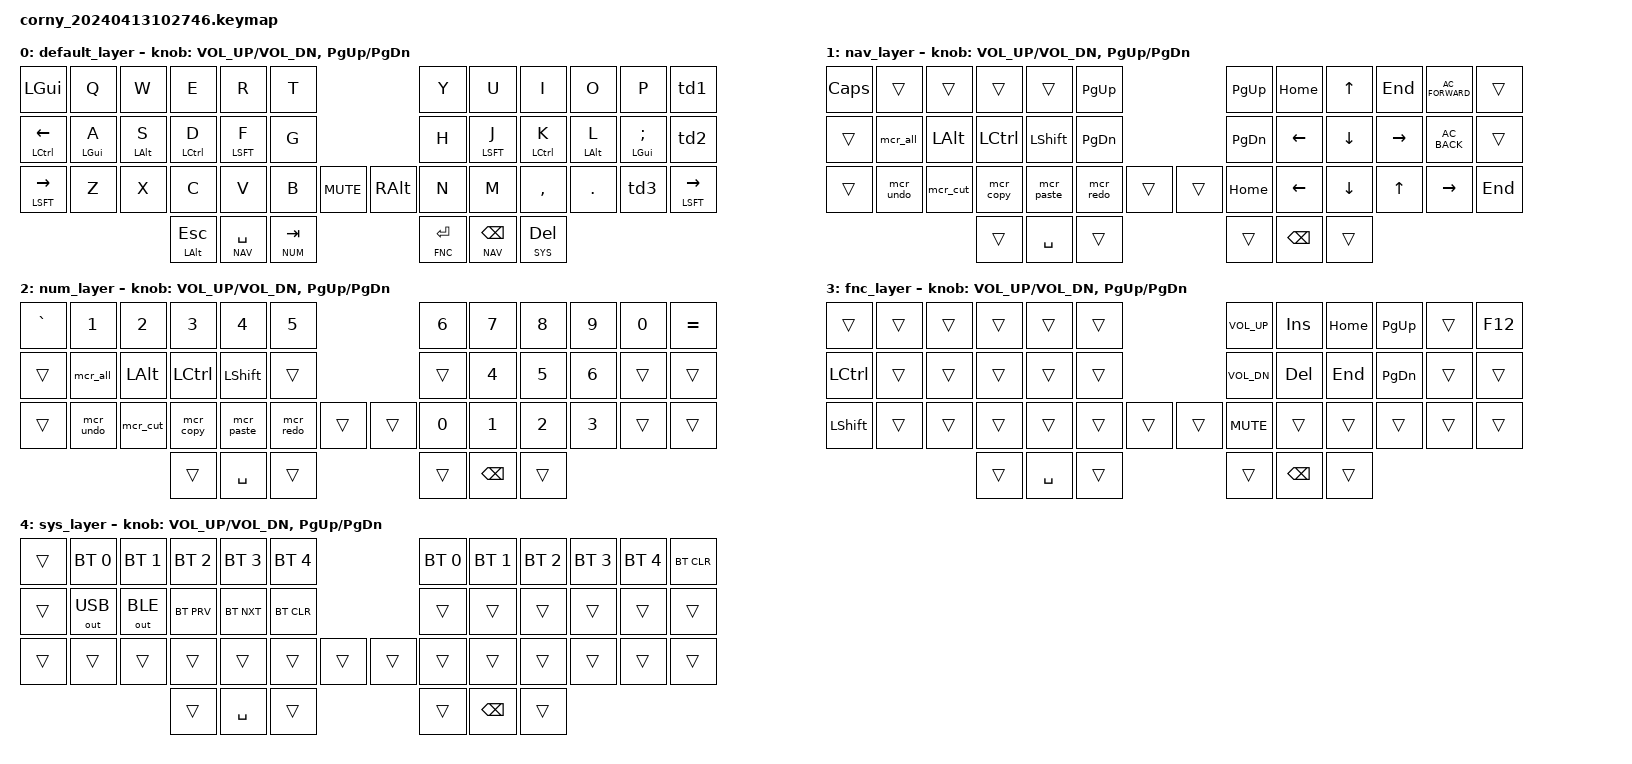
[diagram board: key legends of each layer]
#include <behaviors.dtsi>
#include <dt-bindings/zmk/keys.h>
#include <dt-bindings/zmk/bt.h>
#include <dt-bindings/zmk/outputs.h>


#define DEFAULT 0
#define NAV   1
#define NUM   2
#define FNC   3
#define SYS   4

//flavor = "hold-preferred";
//flavor = "tap-unless-interrupted";
//flavor = "balanced";
//flavor = "tap-preferred";

/ {
    combos {
        compatible = "zmk,combos";
        combo_ralt {
            timeout-ms = <50>;
            key-positions = <28 29>;
            bindings = <&kp RALT>;
        };
        combo_ralt2 {
            timeout-ms = <50>;
            key-positions = <32 33>;
            bindings = <&kp RALT>;
        };
    };
};

/ {
    behaviors {
        hm1: hm1 {
            compatible = "zmk,behavior-hold-tap";
            label = "HOMEROW_MODS1";
            #binding-cells = <2>;
            tapping-term-ms = <150>;
            quick-tap-ms = <0>;
			flavor = "tap-preferred";
            bindings = <&kp>, <&kp>;
        };
        hm2: hm2 {
            compatible = "zmk,behavior-hold-tap";
            label = "HOMEROW_MODS2";
            #binding-cells = <2>;
            tapping-term-ms = <200>;
            quick-tap-ms = <0>;
			flavor = "tap-preferred";
            bindings = <&kp>, <&kp>;
        };
        hm3: hm3 {
            compatible = "zmk,behavior-hold-tap";
            label = "HOMEROW_MODS3";
            #binding-cells = <2>;
            tapping-term-ms = <250>;
            quick-tap-ms = <0>;
            flavor = "tap-preferred";
            bindings = <&kp>, <&kp>;
        };
        hm4: hm4 {
            compatible = "zmk,behavior-hold-tap";
            label = "HOMEROW_MODS3";
            #binding-cells = <2>;
            tapping-term-ms = <350>;
            quick-tap-ms = <0>;
            flavor = "tap-preferred";
            bindings = <&kp>, <&kp>;
        };
        td0: tap_dance_0 {
            compatible = "zmk,behavior-tap-dance";
            label = "TAP_DANCE_0";
            #binding-cells = <0>;
            tapping-term-ms = <200>;
            bindings = <&kp MINUS>, <&kp EQUAL>;
        };
        td1: tap_dance_1 {
            compatible = "zmk,behavior-tap-dance";
            label = "TAP_DANCE_1";
            #binding-cells = <0>;
            tapping-term-ms = <200>;
            bindings = <&kp LBKT>, <&kp RBKT>;
        };
        td2: tap_dance_2 {
            compatible = "zmk,behavior-tap-dance";
            label = "TAP_DANCE_2";
            #binding-cells = <0>;
            tapping-term-ms = <200>;
            bindings = <&kp SQT>, <&kp GRAVE>;
        };
        td3: tap_dance_3 {
            compatible = "zmk,behavior-tap-dance";
            label = "TAP_DANCE_3";
            #binding-cells = <0>;
            tapping-term-ms = <200>;
            bindings = <&kp FSLH>, <&kp BSLH>;
        };
    };
};

/ {
    macros {
        mcr_undo: mcr_undo {
            label = "mcr_undo";
            compatible = "zmk,behavior-macro";
            #binding-cells = <0>;
            bindings
                = <&macro_press &kp LCTRL>
                , <&macro_tap &kp Z>
                , <&macro_release &kp LCTRL>
                ;
        };
        mcr_cut: mcr_cut {
            label = "mcr_cut";
            compatible = "zmk,behavior-macro";
            #binding-cells = <0>;
            bindings
                = <&macro_press &kp LCTRL>
                , <&macro_tap &kp X>
                , <&macro_release &kp LCTRL>
                ;
        };
        mcr_copy: mcr_copy {
            label = "mcr_copy";
            compatible = "zmk,behavior-macro";
            #binding-cells = <0>;
            bindings
                = <&macro_press &kp LCTRL>
                , <&macro_tap &kp C>
                , <&macro_release &kp LCTRL>
                ;
        };
        mcr_paste: mcr_paste {
            label = "mcr_paste";
            compatible = "zmk,behavior-macro";
            #binding-cells = <0>;
            bindings
                = <&macro_press &kp LCTRL>
                , <&macro_tap &kp V>
                , <&macro_release &kp LCTRL>
                ;
        };
        mcr_redo: mcr_redo {
            label = "mcr_redo";
            compatible = "zmk,behavior-macro";
            #binding-cells = <0>;
            bindings
                = <&macro_press &kp LCTRL>
                , <&macro_press &kp LSHFT>
                , <&macro_tap &kp Z>
                , <&macro_release &kp LSHFT>
                , <&macro_release &kp LCTRL>
                ;
        };
        mcr_all: mcr_all {
            label = "mcr_all";
            compatible = "zmk,behavior-macro";
            #binding-cells = <0>;
            bindings
                = <&macro_press &kp LCTRL>
                , <&macro_tap &kp A>
                , <&macro_release &kp LCTRL>
                ;
        };
    };
};



/ {
	keymap {
		compatible = "zmk,keymap";

		default_layer {
			bindings = <
&kp LGUI        &kp Q          &kp W          &kp E           &kp R          &kp T                                                 &kp Y               &kp U                &kp I              &kp O              &kp P                &td1
&hm2 LCTL LEFT  &hm4 LGUI A    &hm3 LALT S    &hm3 LCTL D     &hm2 LSFT F    &kp G                                                 &kp H               &hm1 LSFT J          &hm3 LCTL K        &hm3 LALT L        &hm4 LGUI SEMI       &td2
&hm2 LSFT RIGHT &kp Z          &kp X          &kp C           &kp V          &kp B             &kp C_MUTE        &kp RALT          &kp N               &kp M                &kp COMMA          &kp DOT            &td3                 &hm2 LSFT RIGHT
                                              &hm4 LALT ESC   &lt NAV SPACE  &lt NUM TAB                                           &lt FNC RET         &lt NAV BSPC         &lt SYS DEL 
			>;

			sensor-bindings = <&inc_dec_kp C_VOL_UP C_VOL_DN &inc_dec_kp PG_UP PG_DN>;
		};

		nav_layer {
			bindings = <
&kp CAPS       &trans         &trans         &trans          &trans          &kp PG_UP                                              &kp PG_UP           &kp HOME            &kp UP             &kp END           &kp C_AC_FORWARD    &trans
&trans         &mcr_all       &kp LALT       &kp LCTRL       &kp LSHFT       &kp PG_DN                                              &kp PG_DN           &kp LEFT            &kp DOWN           &kp RIGHT         &kp C_AC_BACK       &trans
&trans         &mcr_undo      &mcr_cut       &mcr_copy       &mcr_paste      &mcr_redo         &trans            &trans             &kp HOME            &kp LEFT            &kp DOWN           &kp UP            &kp RIGHT           &kp END
                                             &trans          &kp SPACE       &trans                                                 &trans              &kp BSPC            &trans
			>;

			sensor-bindings = <&inc_dec_kp C_VOL_UP C_VOL_DN &inc_dec_kp PG_UP PG_DN>;
		};

		num_layer {
			bindings = <
&kp GRAVE      &kp N1         &kp N2         &kp N3          &kp N4          &kp N5                                                 &kp N6              &kp N7              &kp N8             &kp N9            &kp N0              &kp EQUAL
&trans         &mcr_all       &kp LALT       &kp LCTRL       &kp LSHFT       &trans                                                 &trans              &kp N4              &kp N5             &kp N6            &trans              &trans
&trans         &mcr_undo      &mcr_cut       &mcr_copy       &mcr_paste      &mcr_redo         &trans            &trans             &kp N0              &kp N1              &kp N2             &kp N3            &trans              &trans
                                             &trans          &kp SPACE       &trans                                                 &trans              &kp BSPC            &trans
			>;

			sensor-bindings = <&inc_dec_kp C_VOL_UP C_VOL_DN &inc_dec_kp PG_UP PG_DN>;
		};

		fnc_layer {
			bindings = <
&trans         &trans         &trans         &trans          &trans          &trans                                                 &kp C_VOL_UP        &kp INSERT          &kp HOME           &kp PG_UP         &trans              &kp F12
&kp LCTRL      &trans         &trans         &trans          &trans          &trans                                                 &kp C_VOL_DN        &kp DELETE          &kp END            &kp PG_DN         &trans              &trans
&kp LSHFT      &trans         &trans         &trans          &trans          &trans            &trans            &trans             &kp C_MUTE          &trans              &trans             &trans            &trans              &trans
                                             &trans          &kp SPACE       &trans                                                 &trans              &kp BSPC            &trans
			>;

			sensor-bindings = <&inc_dec_kp C_VOL_UP C_VOL_DN &inc_dec_kp PG_UP PG_DN>;
		};

		sys_layer {
			bindings = <
&trans         &bt BT_SEL 0   &bt BT_SEL 1   &bt BT_SEL 2    &bt BT_SEL 3    &bt BT_SEL 4                                           &bt BT_SEL 0        &bt BT_SEL 1        &bt BT_SEL 2       &bt BT_SEL 3      &bt BT_SEL 4        &bt BT_CLR
&trans         &out OUT_USB   &out OUT_BLE   &bt BT_PRV      &bt BT_NXT      &bt BT_CLR                                             &trans              &trans              &trans             &trans            &trans              &trans
&trans         &trans         &trans         &trans          &trans          &trans            &trans            &trans             &trans              &trans              &trans             &trans            &trans              &trans
                                             &trans          &kp SPACE       &trans                                                 &trans              &kp BSPC            &trans
			>;

			sensor-bindings = <&inc_dec_kp C_VOL_UP C_VOL_DN &inc_dec_kp PG_UP PG_DN>;
		};
	};
};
